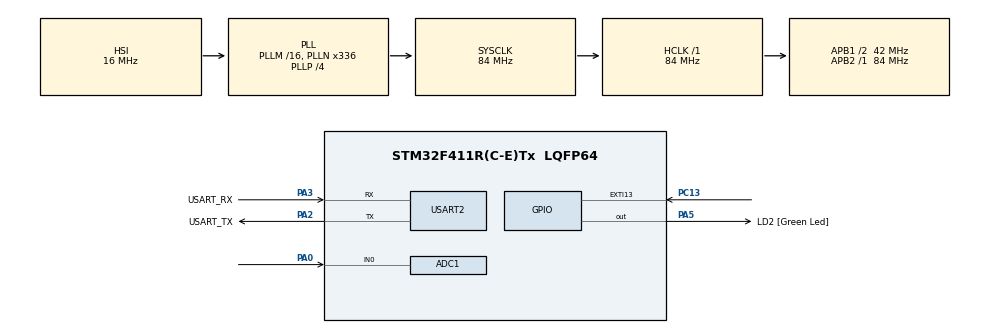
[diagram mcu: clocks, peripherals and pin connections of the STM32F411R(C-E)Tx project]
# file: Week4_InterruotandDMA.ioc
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ADC1.Channel-0\#ChannelRegularConversion=ADC_CHANNEL_TEMPSENSOR
ADC1.Channel-1\#ChannelRegularConversion=ADC_CHANNEL_0
ADC1.ContinuousConvMode=ENABLE
ADC1.DMAContinuousRequests=ENABLE
ADC1.NbrOfConversion=2
ADC1.NbrOfConversionFlag=1
ADC1.Rank-0\#ChannelRegularConversion=1
ADC1.Rank-1\#ChannelRegularConversion=2
ADC1.SamplingTime-0\#ChannelRegularConversion=ADC_SAMPLETIME_56CYCLES
ADC1.SamplingTime-1\#ChannelRegularConversion=ADC_SAMPLETIME_56CYCLES
ADC1.master=1
Dma.ADC1.0.Direction=DMA_PERIPH_TO_MEMORY
Dma.ADC1.0.FIFOMode=DMA_FIFOMODE_DISABLE
Dma.ADC1.0.Instance=DMA2_Stream0
Dma.ADC1.0.MemDataAlignment=DMA_MDATAALIGN_HALFWORD
Dma.ADC1.0.MemInc=DMA_MINC_ENABLE
Dma.ADC1.0.Mode=DMA_CIRCULAR
Dma.ADC1.0.PeriphDataAlignment=DMA_PDATAALIGN_HALFWORD
Dma.ADC1.0.PeriphInc=DMA_PINC_DISABLE
Dma.ADC1.0.Priority=DMA_PRIORITY_LOW
Dma.Request0=ADC1
Mcu.Family=STM32F4
Mcu.Name=STM32F411R(C-E)Tx
Mcu.Package=LQFP64
NVIC.ADC_IRQn=true\:0\:0\:false\:false\:true\:true\:true\:true
NVIC.DMA2_Stream0_IRQn=true\:0\:0\:false\:false\:true\:false\:true\:true
NVIC.EXTI15_10_IRQn=true\:0\:0\:false\:false\:true\:true\:true\:true
NVIC.PriorityGroup=NVIC_PRIORITYGROUP_0
PA0-WKUP.Signal=ADCx_IN0
PA13.GPIO_Label=TMS
PA13.Mode=Serial_Wire
PA13.Signal=SYS_JTMS-SWDIO
PA14.GPIO_Label=TCK
PA14.Mode=Serial_Wire
PA14.Signal=SYS_JTCK-SWCLK
PA2.GPIO_Label=USART_TX
PA2.Mode=Asynchronous
PA2.Signal=USART2_TX
PA3.GPIO_Label=USART_RX
PA3.Mode=Asynchronous
PA3.Signal=USART2_RX
PA5.GPIO_Label=LD2 [Green Led]
PA5.Signal=GPIO_Output
PB3.GPIO_Label=SWO
PB3.Signal=SYS_JTDO-SWO
PC13-ANTI_TAMP.GPIO_ModeDefaultEXTI=GPIO_MODE_IT_FALLING
PC13-ANTI_TAMP.Signal=GPXTI13
PC14-OSC32_IN.Mode=LSE-External-Oscillator
PC14-OSC32_IN.Signal=RCC_OSC32_IN
PC15-OSC32_OUT.Mode=LSE-External-Oscillator
PC15-OSC32_OUT.Signal=RCC_OSC32_OUT
PH0\ -\ OSC_IN.Mode=HSE-External-Clock-Source
PH0\ -\ OSC_IN.Signal=RCC_OSC_IN
PH1\ -\ OSC_OUT.Mode=HSE-External-Clock-Source
PH1\ -\ OSC_OUT.Signal=RCC_OSC_OUT
ProjectManager.HeapSize=0x200
ProjectManager.StackSize=0x400
ProjectManager.TargetToolchain=STM32CubeIDE
RCC.48MHZClocksFreq_Value=84000000
RCC.AHBFreq_Value=84000000
RCC.APB1CLKDivider=RCC_HCLK_DIV2
RCC.APB1Freq_Value=42000000
RCC.APB1TimFreq_Value=84000000
RCC.APB2Freq_Value=84000000
RCC.APB2TimFreq_Value=84000000
RCC.CortexFreq_Value=84000000
RCC.FLatency-AdvancedSettings=FLASH_LATENCY_2
RCC.HCLKFreq_Value=84000000
RCC.HSE_VALUE=8000000
RCC.HSI_VALUE=16000000
RCC.PLLN=336
RCC.PLLP=RCC_PLLP_DIV4
RCC.SYSCLKFreq_VALUE=84000000
RCC.SYSCLKSource=RCC_SYSCLKSOURCE_PLLCLK
RCC.VCOOutputFreq_Value=336000000
SH.ADCx_IN0.0=ADC1_IN0,IN0
USART2.VirtualMode=VM_ASYNC
VP_ADC1_TempSens_Input.Mode=IN-TempSens
board=NUCLEO-F411RE

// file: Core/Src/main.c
/* USER CODE BEGIN Header */
/**
  ******************************************************************************
  * @file           : main.c
  * @brief          : Main program body
  ******************************************************************************
  * @attention
  *
  * Copyright (c) 2023 STMicroelectronics.
  * All rights reserved.
  *
  * This software is licensed under terms that can be found in the LICENSE file
  * in the root directory of this software component.
  * If no LICENSE file comes with this software, it is provided AS-IS.
  *
  ******************************************************************************
  */
/* USER CODE END Header */
#include "main.h"

ADC_HandleTypeDef hadc1;
DMA_HandleTypeDef hdma_adc1;

UART_HandleTypeDef huart2;

/* USER CODE BEGIN PV */
uint16_t adcRawData[20];

struct OutputConvert
{
	uint16_t adc;
	uint16_t temp;
}Output[10];

float adc_convert;
float temp_convert;
float K_convert;

float V;
float K;

void ADC_TEMP_Covert();

typedef union
{
	struct
	{
		uint16_t ADC_IN0;
		uint16_t Tempsensor;
	}subData;
	uint16_t buffer[2];
}DMA_ADC_BufferType;

DMA_ADC_BufferType buffer[10];

/* USER CODE END PV */

void SystemClock_Config(void);
static void MX_GPIO_Init(void);
static void MX_DMA_Init(void);
static void MX_USART2_UART_Init(void);
static void MX_ADC1_Init(void);

int main(void)
{

  /* MCU Configuration--------------------------------------------------------*/

  /* Reset of all peripherals, Initializes the Flash interface and the Systick. */
  HAL_Init();

  /* Configure the system clock */
  SystemClock_Config();

  /* Initialize all configured peripherals */
  MX_GPIO_Init();
  MX_DMA_Init();
  MX_USART2_UART_Init();
  MX_ADC1_Init();

  /* Infinite loop */
  while (1)
  {

    /* USER CODE BEGIN 3 */
	  static uint32_t timestamp = 0;
	  if ( HAL_GetTick() >= timestamp)
	  {
		  timestamp = HAL_GetTick() + 1000;
		  ADC_TEMP_Covert();
	  }

  }
  /* USER CODE END 3 */
}

void SystemClock_Config(void)
{
  RCC_OscInitTypeDef RCC_OscInitStruct = {0};
  RCC_ClkInitTypeDef RCC_ClkInitStruct = {0};

  /** Configure the main internal regulator output voltage
  */
  __HAL_RCC_PWR_CLK_ENABLE();
  __HAL_PWR_VOLTAGESCALING_CONFIG(PWR_REGULATOR_VOLTAGE_SCALE1);

  /** Initializes the RCC Oscillators according to the specified parameters
  * in the RCC_OscInitTypeDef structure.
  */
  RCC_OscInitStruct.OscillatorType = RCC_OSCILLATORTYPE_HSI;
  RCC_OscInitStruct.HSIState = RCC_HSI_ON;
  RCC_OscInitStruct.HSICalibrationValue = RCC_HSICALIBRATION_DEFAULT;
  RCC_OscInitStruct.PLL.PLLState = RCC_PLL_ON;
  RCC_OscInitStruct.PLL.PLLSource = RCC_PLLSOURCE_HSI;
  RCC_OscInitStruct.PLL.PLLM = 16;
  RCC_OscInitStruct.PLL.PLLN = 336;
  RCC_OscInitStruct.PLL.PLLP = RCC_PLLP_DIV4;
  RCC_OscInitStruct.PLL.PLLQ = 4;
  if (HAL_RCC_OscConfig(&RCC_OscInitStruct) != HAL_OK)
  {
    Error_Handler();
  }

  /** Initializes the CPU, AHB and APB buses clocks
  */
  RCC_ClkInitStruct.ClockType = RCC_CLOCKTYPE_HCLK|RCC_CLOCKTYPE_SYSCLK
                              |RCC_CLOCKTYPE_PCLK1|RCC_CLOCKTYPE_PCLK2;
  RCC_ClkInitStruct.SYSCLKSource = RCC_SYSCLKSOURCE_PLLCLK;
  RCC_ClkInitStruct.AHBCLKDivider = RCC_SYSCLK_DIV1;
  RCC_ClkInitStruct.APB1CLKDivider = RCC_HCLK_DIV2;
  RCC_ClkInitStruct.APB2CLKDivider = RCC_HCLK_DIV1;

  if (HAL_RCC_ClockConfig(&RCC_ClkInitStruct, FLASH_LATENCY_2) != HAL_OK)
  {
    Error_Handler();
  }
}

static void MX_ADC1_Init(void)
{

  ADC_ChannelConfTypeDef sConfig = {0};

  /** Configure the global features of the ADC (Clock, Resolution, Data Alignment and number of conversion)
  */
  hadc1.Instance = ADC1;
  hadc1.Init.ClockPrescaler = ADC_CLOCK_SYNC_PCLK_DIV4;
  hadc1.Init.Resolution = ADC_RESOLUTION_12B;
  hadc1.Init.ScanConvMode = ENABLE;
  hadc1.Init.ContinuousConvMode = ENABLE;
  hadc1.Init.DiscontinuousConvMode = DISABLE;
  hadc1.Init.ExternalTrigConvEdge = ADC_EXTERNALTRIGCONVEDGE_NONE;
  hadc1.Init.ExternalTrigConv = ADC_SOFTWARE_START;
  hadc1.Init.DataAlign = ADC_DATAALIGN_RIGHT;
  hadc1.Init.NbrOfConversion = 2;
  hadc1.Init.DMAContinuousRequests = ENABLE;
  hadc1.Init.EOCSelection = ADC_EOC_SINGLE_CONV;
  if (HAL_ADC_Init(&hadc1) != HAL_OK)
  {
    Error_Handler();
  }

  /** Configure for the selected ADC regular channel its corresponding rank in the sequencer and its sample time.
  */
  sConfig.Channel = ADC_CHANNEL_TEMPSENSOR;
  sConfig.Rank = 1;
  sConfig.SamplingTime = ADC_SAMPLETIME_56CYCLES;
  if (HAL_ADC_ConfigChannel(&hadc1, &sConfig) != HAL_OK)
  {
    Error_Handler();
  }

  /** Configure for the selected ADC regular channel its corresponding rank in the sequencer and its sample time.
  */
  sConfig.Channel = ADC_CHANNEL_0;
  sConfig.Rank = 2;
  if (HAL_ADC_ConfigChannel(&hadc1, &sConfig) != HAL_OK)
  {
    Error_Handler();
  }

}

static void MX_USART2_UART_Init(void)
{

  huart2.Instance = USART2;
  huart2.Init.BaudRate = 115200;
  huart2.Init.WordLength = UART_WORDLENGTH_8B;
  huart2.Init.StopBits = UART_STOPBITS_1;
  huart2.Init.Parity = UART_PARITY_NONE;
  huart2.Init.Mode = UART_MODE_TX_RX;
  huart2.Init.HwFlowCtl = UART_HWCONTROL_NONE;
  huart2.Init.OverSampling = UART_OVERSAMPLING_16;
  if (HAL_UART_Init(&huart2) != HAL_OK)
  {
    Error_Handler();
  }

}

static void MX_DMA_Init(void)
{

  /* DMA controller clock enable */
  __HAL_RCC_DMA2_CLK_ENABLE();

  /* DMA interrupt init */
  /* DMA2_Stream0_IRQn interrupt configuration */
  HAL_NVIC_SetPriority(DMA2_Stream0_IRQn, 0, 0);
  HAL_NVIC_EnableIRQ(DMA2_Stream0_IRQn);

}

static void MX_GPIO_Init(void)
{
  GPIO_InitTypeDef GPIO_InitStruct = {0};

  /* GPIO Ports Clock Enable */
  __HAL_RCC_GPIOC_CLK_ENABLE();
  __HAL_RCC_GPIOH_CLK_ENABLE();
  __HAL_RCC_GPIOA_CLK_ENABLE();
  __HAL_RCC_GPIOB_CLK_ENABLE();

  /*Configure GPIO pin Output Level */
  HAL_GPIO_WritePin(LD2_GPIO_Port, LD2_Pin, GPIO_PIN_RESET);

  /*Configure GPIO pin : PC13 */
  GPIO_InitStruct.Pin = GPIO_PIN_13;
  GPIO_InitStruct.Mode = GPIO_MODE_IT_FALLING;
  GPIO_InitStruct.Pull = GPIO_NOPULL;
  HAL_GPIO_Init(GPIOC, &GPIO_InitStruct);

  /*Configure GPIO pin : LD2_Pin */
  GPIO_InitStruct.Pin = LD2_Pin;
  GPIO_InitStruct.Mode = GPIO_MODE_OUTPUT_PP;
  GPIO_InitStruct.Pull = GPIO_NOPULL;
  GPIO_InitStruct.Speed = GPIO_SPEED_FREQ_LOW;
  HAL_GPIO_Init(LD2_GPIO_Port, &GPIO_InitStruct);

  /* EXTI interrupt init*/
  HAL_NVIC_SetPriority(EXTI15_10_IRQn, 0, 0);
  HAL_NVIC_EnableIRQ(EXTI15_10_IRQn);

}

/* USER CODE BEGIN 4 */
void HAL_GPIO_EXTI_Callback(uint16_t GPIO_Pin)
{
//	HAL_ADC_ConfigChannel(&hadc1, ADC_CHANNEL_TEMPSENSOR);

	if(GPIO_Pin == GPIO_PIN_13)
	{
		//intterupt
//		HAL_ADC_Start_IT(&hadc1);

		HAL_ADC_Start_DMA(&hadc1, adcRawData, 20);
//		HAL_ADC_Start_DMA(&hadc1, (uint32_t*)buffer, 20);

	}

}

void HAL_ADC_ConvCpltCallback(ADC_HandleTypeDef* hadc)
{
//	HAL_ADC_Stop_DMA(&hadc1);

//	adcRawData[] = HAL_ADC_GetValue(&hadc1);

}

void ADC_TEMP_Covert()
{
	register int i;
		for(i=0; i<20; i++)
		{
			if (i % 2 == 1)
			{

				adc_convert += (adcRawData[i]/((2.5/3.3)*4096))*5000.0;

			}
			else
			{
				//temp_convert += adcRawData[i]*3.3/4096;
				K_convert += (((adcRawData[i]*3.3/4096) - 0.76)/0.0025) + 298;
			}

		}

		V = adc_convert/10;
		K = K_convert/10;

		adc_convert = 0;
		K_convert = 0;

//		for(i=0; i<10; i++)
//		{
//			K[i] = ((temp_convert[i] - 0.76)/0.0025) + 298;
//		}
}
/* USER CODE END 4 */

void Error_Handler(void)
{
  __disable_irq();
  while (1)
  {
  }
}
